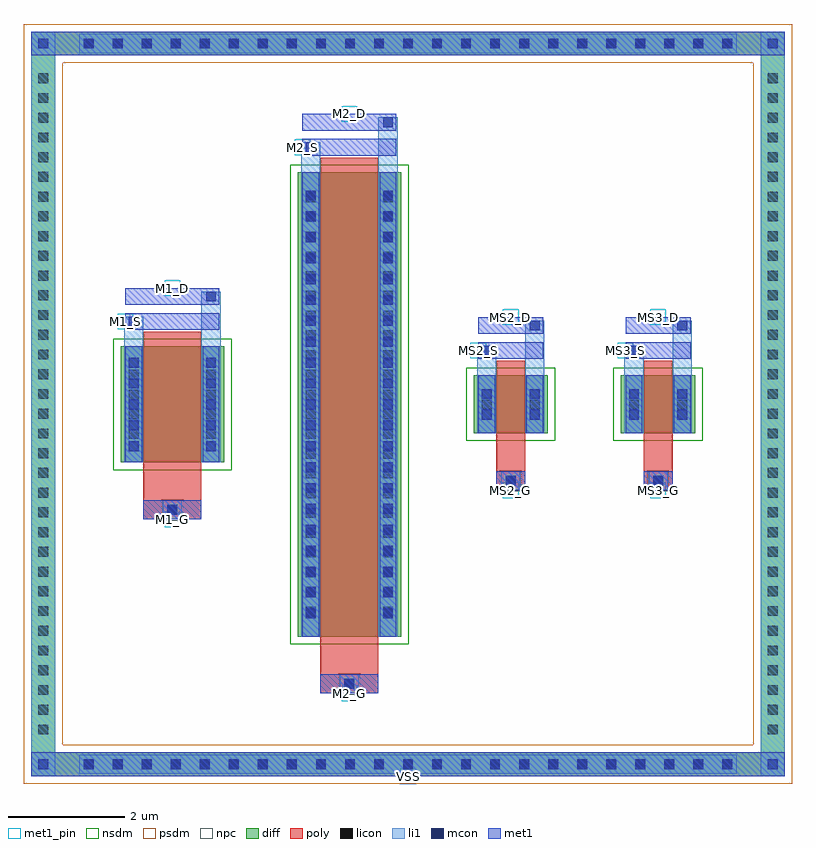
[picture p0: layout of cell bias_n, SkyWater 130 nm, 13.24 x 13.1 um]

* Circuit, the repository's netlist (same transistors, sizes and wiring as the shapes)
.subckt bias_n M1_D M1_G M1_S M2_D M2_G M2_S MS2_D MS2_G MS2_S MS3_D MS3_G MS3_S VSS
XM1 M1_D M1_G M1_S VSS sky130_fd_pr__nfet_01v8 W=2.0 L=1.0 nf=1 m=1
XM2 M2_D M2_G M2_S VSS sky130_fd_pr__nfet_01v8 W=8.0 L=1.0 nf=1 m=1
XMS2 MS2_D MS2_G MS2_S VSS sky130_fd_pr__nfet_01v8 W=1.0 L=0.5 nf=1 m=1
XMS3 MS3_D MS3_G MS3_S VSS sky130_fd_pr__nfet_01v8 W=1.0 L=0.5 nf=1 m=1
.ends bias_n

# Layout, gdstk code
import gdstk
lib = gdstk.Library(unit=1e-6, precision=5e-09)
def R(c, l, rs):  # rectangles x0, y0, x1, y1
    for r in rs: c.add(gdstk.rectangle(r[:2], r[2:], *l))
def A(c, l, x, y, w, h, nx, ny, dx, dy):  # array of equal rectangles
    R(c, l, [(x+i*dx, y+j*dy, x+i*dx+w, y+j*dy+h) for i in range(nx) for j in range(ny)])
def P(c, l, *ps):  # polygons
    for p in ps: c.add(gdstk.Polygon(p, *l))
diff = (65, 20)
poly = (66, 20)
licon = (66, 44)
li1 = (67, 20)
mcon = (67, 44)
met1_pin = (68, 16)
met1 = (68, 20)
nsdm = (93, 44)
psdm = (94, 20)
npc = (95, 20)

bias_n = lib.new_cell('bias_n')
A(bias_n, diff, -0.625, -6.405, 0.41, 0.41, 23, 2, 0.5, 12.42)
A(bias_n, diff, -1.41, -5.805, 0.41, 0.41, 1, 34, 0, 0.34)
A(bias_n, diff, 11.16, -5.805, 0.41, 0.41, 1, 34, 0, 0.34)
R(bias_n, diff, [(-0.625,-6.405,10.785,-5.995), (-1.41,-5.805,-1,5.825), (11.16,-5.805,11.57,5.825), (3.18,-4,4.96,4), (0.13,-1,1.91,1), (6.21,-0.5,7.49,0.5), (8.75,-0.5,10.03,0.5), (-0.625,6.015,10.785,6.425)])
P(bias_n, diff, [(11.57,6.425),(-1.41,6.425),(-1.41,-5.995),(-1,-5.995),(-1,6.015),(11.16,6.015),(11.16,-5.995),(-1,-5.995),(-1.41,-5.995),(-1.41,-6.405),(11.57,-6.405)])
R(bias_n, poly, [(3.57,-4.98,4.57,-4.65), (3.905,-4.98,4.235,-4.65), (3.57,-4.65,4.57,-4.25), (3.57,-4.25,4.57,4.25), (0.52,-1.98,1.52,-1.65), (0.855,-1.98,1.185,-1.65), (0.52,-1.65,1.52,-1.25), (6.6,-1.48,7.1,-1.15), (6.685,-1.48,7.015,-1.15), (9.14,-1.48,9.64,-1.15), (9.225,-1.48,9.555,-1.15), (0.52,-1.25,1.52,1.25), (6.6,-1.15,7.1,-0.75), (9.14,-1.15,9.64,-0.75), (6.6,-0.75,7.1,0.75), (9.14,-0.75,9.64,0.75)])
A(bias_n, licon, -0.505, -6.285, 0.17, 0.17, 23, 2, 0.5, 12.42)
A(bias_n, licon, -1.29, -5.685, 0.17, 0.17, 1, 34, 0, 0.34)
A(bias_n, licon, 11.28, -5.685, 0.17, 0.17, 1, 34, 0, 0.34)
A(bias_n, licon, 3.32, -3.655, 0.17, 0.17, 1, 22, 0, 0.34)
A(bias_n, licon, 4.65, -3.655, 0.17, 0.17, 1, 22, 0, 0.34)
A(bias_n, licon, 0.27, -0.595, 0.17, 0.17, 1, 4, 0, 0.34)
A(bias_n, licon, 1.6, -0.595, 0.17, 0.17, 1, 4, 0, 0.34)
R(bias_n, licon, [(3.985,-4.9,4.155,-4.73), (0.935,-1.9,1.105,-1.73), (6.765,-1.4,6.935,-1.23), (9.305,-1.4,9.475,-1.23), (6.35,-0.085,6.52,0.085), (7.18,-0.085,7.35,0.085), (8.89,-0.085,9.06,0.085), (9.72,-0.085,9.89,0.085)])
A(bias_n, li1, -0.585, -6.365, 0.33, 0.33, 23, 2, 0.5, 12.42)
A(bias_n, li1, -1.37, -5.765, 0.33, 0.33, 1, 34, 0, 0.34)
A(bias_n, li1, 11.2, -5.765, 0.33, 0.33, 1, 34, 0, 0.34)
A(bias_n, li1, 3.24, -3.735, 0.33, 0.33, 1, 22, 0, 0.34)
A(bias_n, li1, 4.57, -3.735, 0.33, 0.33, 1, 22, 0, 0.34)
A(bias_n, li1, 3.32, -3.685, 0.17, 0.17, 1, 21, 0, 0.36)
A(bias_n, li1, 4.65, -3.685, 0.17, 0.17, 1, 21, 0, 0.36)
A(bias_n, li1, 0.27, -0.805, 0.17, 0.17, 1, 5, 0, 0.36)
A(bias_n, li1, 1.6, -0.805, 0.17, 0.17, 1, 5, 0, 0.36)
A(bias_n, li1, 0.19, -0.675, 0.33, 0.33, 1, 4, 0, 0.34)
A(bias_n, li1, 1.52, -0.675, 0.33, 0.33, 1, 4, 0, 0.34)
R(bias_n, li1, [(-1.41,-6.405,-1,-5.995), (11.16,-6.405,11.57,-5.995), (-0.585,-6.365,10.745,-6.035), (-1.29,-6.285,-1.12,-6.115), (-1.29,-6.285,-1.12,-6.115), (11.28,-6.285,11.45,-6.115), (11.28,-6.285,11.45,-6.115), (-1.41,-5.995,-1,6.015), (11.16,-5.995,11.57,6.015), (3.905,-4.98,4.235,-4.65), (3.24,-4,3.57,4), (4.57,-4,4.9,4), (3.32,-3.685,3.49,3.685), (4.65,-3.685,4.82,3.685), (0.855,-1.98,1.185,-1.65), (6.685,-1.48,7.015,-1.15), (9.225,-1.48,9.555,-1.15), (0.19,-1,0.52,1), (1.52,-1,1.85,1), (0.27,-0.805,0.44,0.805), (1.6,-0.805,1.77,0.805), (6.27,-0.5,6.6,0.5), (7.1,-0.5,7.43,0.5), (8.81,-0.5,9.14,0.5), (9.64,-0.5,9.97,0.5), (6.35,-0.265,6.52,-0.095), (6.35,-0.265,6.52,0.265), (7.18,-0.265,7.35,-0.095), (7.18,-0.265,7.35,0.265), (8.89,-0.265,9.06,-0.095), (8.89,-0.265,9.06,0.265), (9.72,-0.265,9.89,-0.095), (9.72,-0.265,9.89,0.265), (6.27,-0.165,6.6,0.165), (7.1,-0.165,7.43,0.165), (8.81,-0.165,9.14,0.165), (9.64,-0.165,9.97,0.165), (6.35,0.095,6.52,0.265), (7.18,0.095,7.35,0.265), (8.89,0.095,9.06,0.265), (9.72,0.095,9.89,0.265), (6.27,0.5,6.6,1.015), (7.1,0.5,7.43,1.445), (8.81,0.5,9.14,1.015), (9.64,0.5,9.97,1.445), (6.35,0.845,6.52,1.015), (8.89,0.845,9.06,1.015), (0.19,1,0.52,1.515), (1.52,1,1.85,1.945), (7.18,1.275,7.35,1.445), (9.72,1.275,9.89,1.445), (0.27,1.345,0.44,1.515), (1.6,1.775,1.77,1.945), (3.24,4,3.57,4.515), (4.57,4,4.9,4.945), (3.32,4.345,3.49,4.515), (4.65,4.775,4.82,4.945), (-1.41,6.015,-1,6.425), (11.16,6.015,11.57,6.425), (-0.585,6.055,10.745,6.385), (-1.29,6.135,-1.12,6.305), (-1.29,6.135,-1.12,6.305), (11.28,6.135,11.45,6.305), (11.28,6.135,11.45,6.305)])
A(bias_n, mcon, -0.505, -6.285, 0.17, 0.17, 23, 2, 0.5, 12.42)
A(bias_n, mcon, 3.32, -3.685, 0.17, 0.17, 1, 21, 0, 0.36)
A(bias_n, mcon, 4.65, -3.685, 0.17, 0.17, 1, 21, 0, 0.36)
A(bias_n, mcon, 0.27, -0.805, 0.17, 0.17, 1, 5, 0, 0.36)
A(bias_n, mcon, 1.6, -0.805, 0.17, 0.17, 1, 5, 0, 0.36)
R(bias_n, mcon, [(-1.29,-6.285,-1.12,-6.115), (11.28,-6.285,11.45,-6.115), (3.985,-4.9,4.155,-4.73), (0.935,-1.9,1.105,-1.73), (6.765,-1.4,6.935,-1.23), (9.305,-1.4,9.475,-1.23), (6.35,-0.265,6.52,-0.095), (7.18,-0.265,7.35,-0.095), (8.89,-0.265,9.06,-0.095), (9.72,-0.265,9.89,-0.095), (6.35,0.095,6.52,0.265), (7.18,0.095,7.35,0.265), (8.89,0.095,9.06,0.265), (9.72,0.095,9.89,0.265), (6.35,0.845,6.52,1.015), (8.89,0.845,9.06,1.015), (7.18,1.275,7.35,1.445), (9.72,1.275,9.89,1.445), (0.27,1.345,0.44,1.515), (1.6,1.775,1.77,1.945), (3.32,4.345,3.49,4.515), (4.65,4.775,4.82,4.945), (-1.29,6.135,-1.12,6.305), (11.28,6.135,11.45,6.305)])
R(bias_n, met1_pin, [(4.945,-6.54,5.215,-6.27), (3.935,-5.115,4.205,-4.845), (0.885,-2.115,1.155,-1.845), (6.715,-1.615,6.985,-1.345), (9.255,-1.615,9.525,-1.345), (6.155,0.795,6.425,1.065), (8.695,0.795,8.965,1.065), (0.075,1.295,0.345,1.565), (6.715,1.37,6.985,1.64), (9.255,1.37,9.525,1.64), (0.885,1.87,1.155,2.14), (3.125,4.295,3.395,4.565), (3.935,4.87,4.205,5.14)])
A(bias_n, met1, -0.565, -6.345, 0.29, 0.29, 23, 2, 0.5, 12.42)
A(bias_n, met1, 3.26, -3.745, 0.29, 0.29, 1, 21, 0, 0.36)
A(bias_n, met1, 4.59, -3.745, 0.29, 0.29, 1, 21, 0, 0.36)
A(bias_n, met1, 0.21, -0.865, 0.29, 0.29, 1, 5, 0, 0.36)
A(bias_n, met1, 1.54, -0.865, 0.29, 0.29, 1, 5, 0, 0.36)
R(bias_n, met1, [(-1.41,-6.405,-1,-5.995), (-1.41,-6.405,-1,-5.995), (-1,-6.405,11.16,-5.995), (11.16,-6.405,11.57,-5.995), (11.16,-6.405,11.57,-5.995), (-1.35,-6.345,-1.06,-6.055), (11.22,-6.345,11.51,-6.055), (3.57,-4.98,4.57,-4.65), (3.925,-4.96,4.215,-4.67), (3.26,-4,3.55,4), (4.59,-4,4.88,4), (0.52,-1.98,1.52,-1.65), (0.875,-1.96,1.165,-1.67), (6.6,-1.48,7.1,-1.15), (9.14,-1.48,9.64,-1.15), (6.705,-1.46,6.995,-1.17), (9.245,-1.46,9.535,-1.17), (0.21,-1,0.5,1), (1.54,-1,1.83,1), (6.29,-0.5,6.58,0.5), (7.12,-0.5,7.41,0.5), (8.83,-0.5,9.12,0.5), (9.66,-0.5,9.95,0.5), (6.29,-0.325,6.58,-0.035), (7.12,-0.325,7.41,-0.035), (8.83,-0.325,9.12,-0.035), (9.66,-0.325,9.95,-0.035), (6.29,0.035,6.58,0.325), (7.12,0.035,7.41,0.325), (8.83,0.035,9.12,0.325), (9.66,0.035,9.95,0.325), (6.29,0.785,6.58,1.075), (6.29,0.785,7.41,1.075), (8.83,0.785,9.12,1.075), (8.83,0.785,9.95,1.075), (6.29,1.215,7.41,1.505), (7.12,1.215,7.41,1.505), (8.83,1.215,9.95,1.505), (9.66,1.215,9.95,1.505), (0.21,1.285,0.5,1.575), (0.21,1.285,1.83,1.575), (0.21,1.715,1.83,2.005), (1.54,1.715,1.83,2.005), (3.26,4.285,3.55,4.575), (3.26,4.285,4.88,4.575), (3.26,4.715,4.88,5.005), (4.59,4.715,4.88,5.005), (-1.41,6.015,-1,6.425), (-1.41,6.015,-1,6.425), (-1,6.015,11.16,6.425), (11.16,6.015,11.57,6.425), (11.16,6.015,11.57,6.425), (-1.35,6.075,-1.06,6.365), (11.22,6.075,11.51,6.365)])
R(bias_n, nsdm, [(3.05,-4.13,5.09,4.13), (0,-1.13,2.04,1.13), (6.08,-0.63,7.62,0.63), (8.62,-0.63,10.16,0.63)])
P(bias_n, psdm, [(11.7,6.555),(-1.54,6.555),(-1.54,-5.865),(-0.87,-5.865),(-0.87,5.885),(11.03,5.885),(11.03,-5.865),(-0.87,-5.865),(-1.54,-5.865),(-1.54,-6.535),(11.7,-6.535)])
R(bias_n, npc, [(3.885,-5,4.255,-4.63), (3.885,-5,4.255,-4.63), (0.835,-2,1.205,-1.63), (0.835,-2,1.205,-1.63), (6.665,-1.5,7.035,-1.13), (6.665,-1.5,7.035,-1.13), (9.205,-1.5,9.575,-1.13), (9.205,-1.5,9.575,-1.13)])
bias_n.add(gdstk.Label('MS3_G', (9.39,-1.48), layer=68, texttype=5))
bias_n.add(gdstk.Label('MS3_S', (8.83,0.93), layer=68, texttype=5))
bias_n.add(gdstk.Label('MS3_D', (9.39,1.505), layer=68, texttype=5))
bias_n.add(gdstk.Label('MS2_G', (6.85,-1.48), layer=68, texttype=5))
bias_n.add(gdstk.Label('MS2_S', (6.29,0.93), layer=68, texttype=5))
bias_n.add(gdstk.Label('MS2_D', (6.85,1.505), layer=68, texttype=5))
bias_n.add(gdstk.Label('M2_G', (4.07,-4.98), layer=68, texttype=5))
bias_n.add(gdstk.Label('M2_S', (3.26,4.43), layer=68, texttype=5))
bias_n.add(gdstk.Label('M2_D', (4.07,5.005), layer=68, texttype=5))
bias_n.add(gdstk.Label('M1_G', (1.02,-1.98), layer=68, texttype=5))
bias_n.add(gdstk.Label('M1_S', (0.21,1.43), layer=68, texttype=5))
bias_n.add(gdstk.Label('M1_D', (1.02,2.005), layer=68, texttype=5))
bias_n.add(gdstk.Label('VSS', (5.08,-6.405), layer=68, texttype=5))

lib.write_gds('bias_n.gds')
